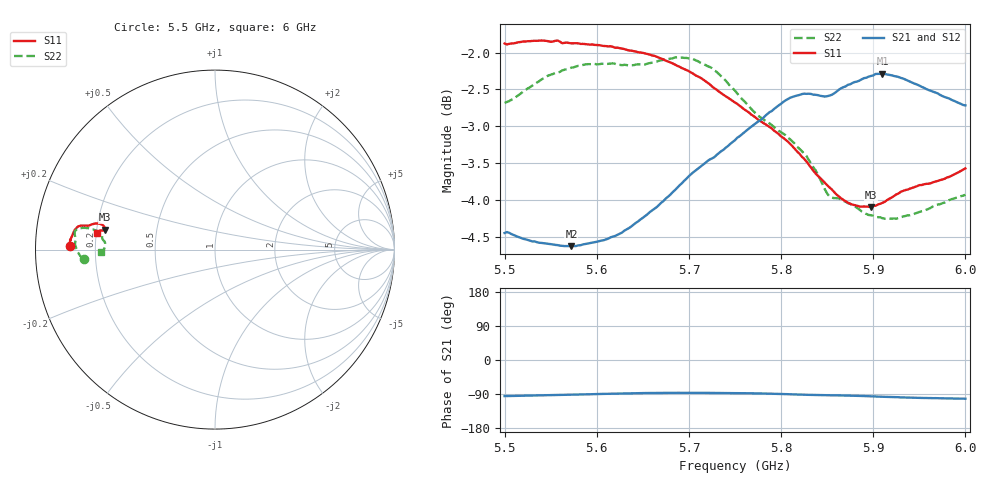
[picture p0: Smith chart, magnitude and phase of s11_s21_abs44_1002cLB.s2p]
! MS46122B
! 1919307/90821646
! 7/29/2022 12:37:15 PM
! C:\USERS\PC_\DESKTOP\MEDICIONES\BANCHA ESTRECHA\55_6GHZ\S11_S21_ABS44_1002CL.S2P
! CHANNEL.1
! TR.MEASUREMENT
! CORRECTED.DATA
# GHZ S RI R 50.0
! FREQ.GHZ  S11RE  S11IM  S21RE  S21IM  S12RE  S12IM  S22RE  S22IM
!; PortSelection: Port_12
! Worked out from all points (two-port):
!   201 points, 5.5 GHz to 6 GHz, reference 50 ohm
!   highest |S21| = -2.29 dB at 5.91 GHz (marker M1); lowest = -4.6 dB at 5.572 GHz (marker M2)
!   |S21| within 3 dB of the highest: start of sweep to end of sweep
!   lowest |S11| = -4.1 dB at 5.897 GHz (marker M3), VSWR 4.32, Z = 11.7 + j4.24 ohm
!   |S11| at or under -10 dB: nowhere
!   |S22| runs from -4.3 to -2.1 dB; largest |S21 - S12| = 0.014
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5.5  -0.8055 0.0183  -0.0541 -0.5965  -0.0482 -0.5966  -0.7323 -0.0522
5.5225  -0.8076 0.0313  -0.0424 -0.5916  -0.0349 -0.5879  -0.748 -0.0393
5.5725  -0.8038 0.0577  -0.0154 -0.5865  -0.00308 -0.5858  -0.7757 0.0153
5.585  -0.8029 0.0615  -0.00913 -0.5882  0.00365 -0.5879  -0.7787 0.025
5.63  -0.7948 0.0789  0.018 -0.6009  0.0291 -0.6004  -0.7779 0.0473
5.6675  -0.7802 0.1102  0.0359 -0.6248  0.0461 -0.6258  -0.7805 0.0771
5.7025  -0.7588 0.1306  0.0394 -0.6557  0.0488 -0.6572  -0.7803 0.1035
5.725  -0.7415 0.1332  0.0369 -0.672  0.0444 -0.6761  -0.7665 0.1156
5.75  -0.7225 0.1329  0.0309 -0.6919  0.0363 -0.6943  -0.7385 0.1215
5.7725  -0.7049 0.1335  0.0237 -0.7107  0.0323 -0.7123  -0.7123 0.1194
5.805  -0.6782 0.1425  -0.00102 -0.7372  0.00628 -0.7396  -0.6884 0.1146
5.835  -0.6443 0.1444  -0.0305 -0.7431  -0.0256 -0.7441  -0.6557 0.1034
5.8525  -0.6282 0.1385  -0.0395 -0.7416  -0.0339 -0.7397  -0.6292 0.0796
5.8675  -0.6177 0.1281  -0.0475 -0.7509  -0.0402 -0.7487  -0.6271 0.0597
5.8975  -0.614 0.111  -0.0791 -0.7617  -0.0715 -0.7589  -0.6144 0.0427
5.91  -0.6186 0.1074  -0.0932 -0.7627  -0.0889 -0.7581  -0.6119 0.035
5.9175  -0.623 0.106  -0.1005 -0.7605  -0.0964 -0.7564  -0.6118 0.0279
5.9275  -0.6281 0.1072  -0.109 -0.7567  -0.1108 -0.75  -0.6129 0.0202
5.93  -0.63 0.1063  -0.1164 -0.7545  -0.1062 -0.7504  -0.6137 0.0162
5.9375  -0.6321 0.1074  -0.1207 -0.7505  -0.1181 -0.7433  -0.6157 0.0111
5.96  -0.6381 0.1065  -0.1361 -0.7367  -0.1289 -0.7267  -0.622 -0.00784
6  -0.6559 0.0945  -0.1546 -0.7148  -0.1413 -0.7106  -0.6357 -0.0108
